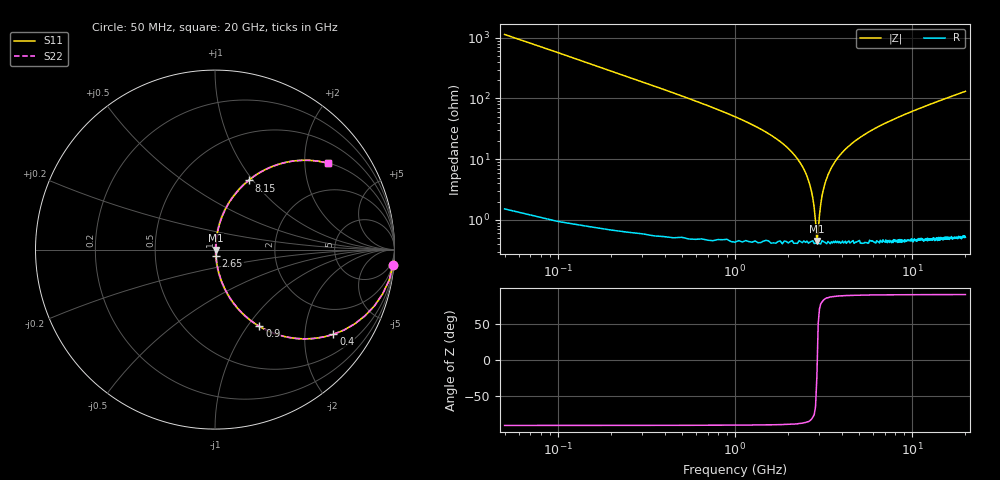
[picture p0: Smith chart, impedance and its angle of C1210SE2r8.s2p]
! AVX Thin Film Operation		Date: April 2012
! Description: Accu-P® Series, Thin Film, SMD, RF Capacitor
! Part Number: 12101J2R8QBTTR
!	100	MHz	-	20.05	GHz
!	Serial	Measurements
#	MHZ	S	MA	R	50
!	S11	S21	S12	S22
!	dB	Phase	dB	Phase	dB	Phase	dB	Phase
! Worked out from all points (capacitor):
!   400 points, 50 MHz to 20 GHz, reference 50 ohm
!   read as one part in series: C = 2.8 pF near 150 MHz
!   lowest |Z| = 451 mohm at 2.9 GHz (marker M1)
!   series resonance near 2.913 GHz, so ESL is about 1.1 nH
!   S11 on the Smith chart (normalised r, x): 50 MHz: 1, -23; 400 MHz: 1.01, -2.79; 900 MHz: 1.01, -1.14; 2.65 GHz: 1.01, -0.07; 8.15 GHz: 1.01, +0.95; 20 GHz: 1.01, +2.62
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50  0.996 -5.0  0.088 84.9  0.088 84.9  0.996 -5.0
100  0.985 -10.0  0.173 79.9  0.173 79.9  0.985 -10.0
150  0.966 -14.8  0.256 75.1  0.256 75.1  0.966 -14.8
250  0.913 -23.9  0.405 66.0  0.405 66.0  0.913 -23.9
400  0.811 -35.6  0.582 54.2  0.582 54.2  0.811 -35.6
900  0.494 -59.9  0.865 29.6  0.865 29.6  0.494 -59.9
1350  0.313 -71.0  0.946 18.2  0.946 18.2  0.313 -71.0
2050  0.138 -80.3  0.986 7.9  0.986 7.9  0.138 -80.3
2400  0.076 -82.4  0.993 4.3  0.993 4.3  0.076 -82.4
2650  0.037 -81.3  0.995 2.1  0.995 2.1  0.037 -81.3
2800  0.016 -73.6  0.996 0.9  0.996 0.9  0.016 -73.6
2900  0.004612 -22.1  0.996 0.1  0.996 0.1  0.004612 -22.1
3100  0.025 78.6  0.995 -1.4  0.995 -1.4  0.025 78.6
3400  0.06 82.5  0.994 -3.5  0.994 -3.5  0.06 82.5
3800  0.104 81.7  0.99 -6.0  0.99 -6.0  0.104 81.7
4500  0.172 78.7  0.981 -9.9  0.981 -9.9  0.172 78.7
6700  0.341 69.4  0.936 -19.9  0.936 -19.9  0.341 69.4
8150  0.428 64.1  0.9 -25.4  0.9 -25.4  0.428 64.1
10050  0.523 58.0  0.848 -31.5  0.848 -31.5  0.523 58.0
13350  0.647 49.4  0.759 -40.3  0.759 -40.3  0.647 49.4
16700  0.733 42.6  0.676 -47.2  0.676 -47.2  0.733 42.6
20000  0.794 37.2  0.605 -52.5  0.605 -52.5  0.794 37.2
